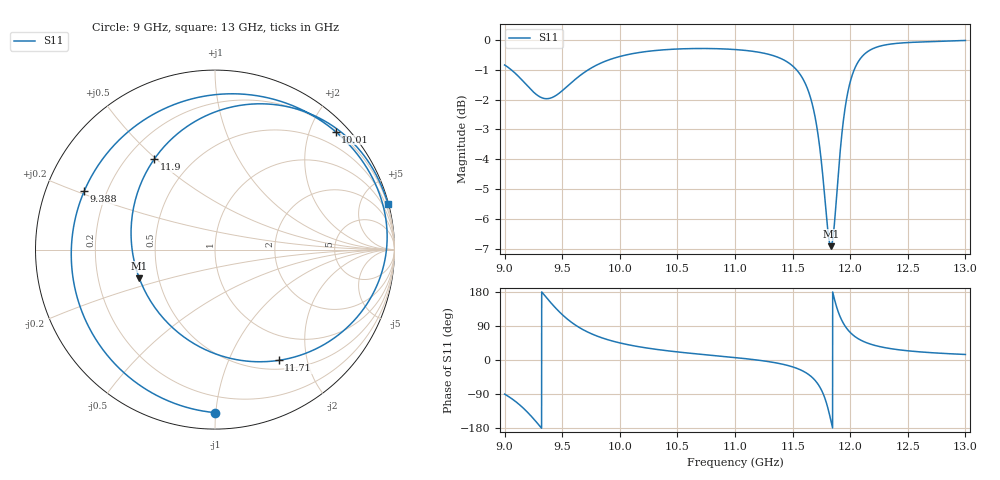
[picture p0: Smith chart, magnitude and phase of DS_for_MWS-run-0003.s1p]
! TOUCHSTONE file generated by CST DESIGN STUDIO
! Date and time: Tue Feb  4 16:15:20 2025
! Project name: C:\Work\MatlabApps\UnitCellOptimizationMatlab\CST\unitcell.cst
! Tree item: Tasks\Sweep1\SPara1\S-Parameters
! Header version: 2024
! Port assignment regex: !\s*Touchstone port\s*([0-9]+)\s*=\s*(CST MWS port|CST DES external port|CST DES block port)\s*(.+)\s* \(\"(.*)\"\)(\s*mode\s*([0-9]+))?.*
! Touchstone port assignment:
! Touchstone port 1 = CST DES external port 1 ("")
# GHz S MA R 50
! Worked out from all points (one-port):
!   4001 points, 9 GHz to 13 GHz, reference 50 ohm
!   lowest |S11| = -6.9 dB at 11.83 GHz (marker M1), VSWR 2.64, Z = 19.5 - j7.82 ohm
!   |S11| at or under -10 dB: nowhere
!   S11 on the Smith chart (normalised r, x): 9 GHz: 0.10, -1.00; 9.388 GHz: 0.12, +0.21; 10.01 GHz: 0.22, +2.43; 11.71 GHz: 0.62, -1.55; 11.9 GHz: 0.31, +0.49; 13 GHz: 0.04, +7.81
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9  0.9084 -90.0
9.093  0.8794 -109.0
9.176  0.8468 -131.0
9.288  0.8071 -168.0
9.388  0.7982 155.8
9.5  0.8222 119.8
9.604  0.8563 94.4
9.738  0.8945 71.4
9.859  0.9192 57.0
10  0.9386 45.1
10.01  0.9397 44.4
10.5  0.9661 21.3
11  0.9642 6.4
11.297  0.946 -4.5
11.5  0.9051 -18.1
11.623  0.8345 -34.9
11.712  0.712 -60.1
11.776  0.5539 -97.3
11.803  0.4855 -123.2
11.832  0.451 -159.2
11.865  0.497 158.4
11.9  0.6074 123.8
11.945  0.7434 94.7
12  0.8506 72.7
12.076  0.9238 55.0
12.173  0.9623 42.2
12.5  0.9905 24.3
13  0.9986 14.6
